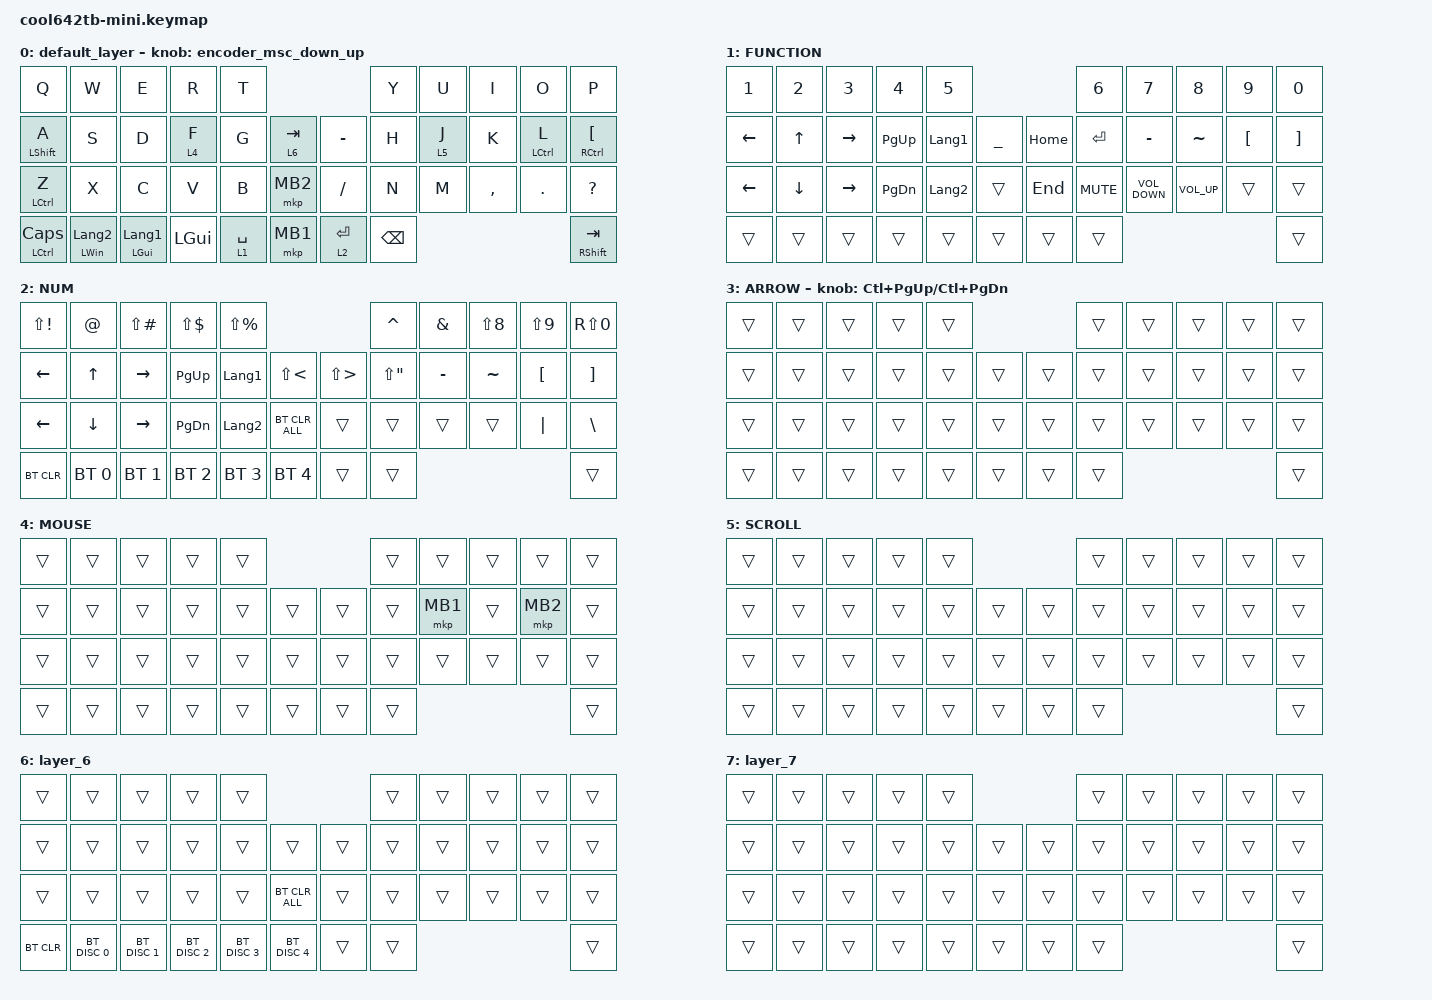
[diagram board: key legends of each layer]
#include <behaviors.dtsi>
#include <dt-bindings/zmk/bt.h>
#include <dt-bindings/zmk/keys.h>
#include <dt-bindings/zmk/pointing.h>

#define MOUSE 4
#define SCROLL 5
#define NUM 6
#define ZMK_POINTING_DEFAULT_SCRL_VAL 80

&mt {
    flavor = "balanced";
    quick-tap-ms = <0>;
};

/ {
    combos {
        compatible = "zmk,combos";

        shift_tab {
            bindings = <&kp LANG2>;
            key-positions = <12 13>;
        };

        lang {
            bindings = <&kp LANG1>;
            key-positions = <18 19>;
        };
    };

    behaviors {
        encoder_msc_down_up: encoder_msc_down_up {
            compatible = "zmk,behavior-sensor-rotate";
            label = "ENCODER_MSC_DOWN_UP";
            #sensor-binding-cells = <0>;
            bindings = <&msc SCRL_UP>, <&msc SCRL_DOWN>;

            tap-ms = <20>;
        };
    };

    keymap {
        compatible = "zmk,keymap";

        default_layer {
            bindings = <
&kp Q                      &kp W                    &kp E                    &kp R         &kp T                                    &kp Y          &kp U    &kp I      &kp O               &kp P
&mt LEFT_SHIFT A           &kp S                    &kp D                    &lt 4 F       &kp G        &lt 6 TAB      &kp MINUS    &kp H          &lt 5 J  &kp K      &mt LEFT_CONTROL L  &mt RIGHT_CONTROL LBKT
&mt LEFT_CONTROL Z         &kp X                    &kp C                    &kp V         &kp B        &mkp MB2       &kp SLASH    &kp N          &kp M    &kp COMMA  &kp PERIOD          &kp QUESTION
&mt LEFT_CONTROL CAPSLOCK  &mt LEFT_WIN LANGUAGE_2  &mt LEFT_GUI LANGUAGE_1  &kp LEFT_GUI  &lt 1 SPACE  &mkp MB1       &lt 2 ENTER  &kp BACKSPACE                                          &mt RIGHT_SHIFT TAB
            >;

            sensor-bindings = <&encoder_msc_down_up>;
        };

        FUNCTION {
            bindings = <
&kp N1          &kp N2        &kp N3           &kp N4         &kp N5                                   &kp N6      &kp N7             &kp N8           &kp N9            &kp N0
&kp LEFT_ARROW  &kp UP_ARROW  &kp RIGHT_ARROW  &kp PAGE_UP    &kp LANGUAGE_1  &kp UNDER      &kp HOME  &kp ENTER   &kp MINUS          &kp TILDE        &kp LEFT_BRACKET  &kp RIGHT_BRACKET
&kp LEFT_ARROW  &kp DOWN      &kp RIGHT_ARROW  &kp PAGE_DOWN  &kp LANGUAGE_2  &trans         &kp END   &kp K_MUTE  &kp C_VOLUME_DOWN  &kp C_VOLUME_UP  &trans            &trans
&trans          &trans        &trans           &trans         &trans          &trans         &trans    &trans                                                            &trans
            >;
        };

        NUM {
            bindings = <
&kp LS(EXCL)  &kp AT          &kp LS(POUND)  &kp LS(DLLR)   &kp LS(PRCNT)                                   &kp CARET    &kp AMPERSAND  &kp LS(N8)  &kp LS(N9)        &kp RS(N0)
&kp LEFT      &kp UP_ARROW    &kp RIGHT      &kp PAGE_UP    &kp LANGUAGE_1  &kp LS(LT)          &kp LS(GT)  &kp LS(DQT)  &kp MINUS      &kp TILDE   &kp LEFT_BRACKET  &kp RIGHT_BRACKET
&kp LEFT      &kp DOWN_ARROW  &kp RIGHT      &kp PAGE_DOWN  &kp LANGUAGE_2  &bt BT_CLR_ALL      &trans      &trans       &trans         &trans      &kp PIPE          &kp BACKSLASH
&bt BT_CLR    &bt BT_SEL 0    &bt BT_SEL 1   &bt BT_SEL 2   &bt BT_SEL 3    &bt BT_SEL 4        &trans      &trans                                                    &trans
            >;
        };

        ARROW {
            bindings = <
&trans  &trans  &trans  &trans  &trans                      &trans  &trans  &trans  &trans  &trans
&trans  &trans  &trans  &trans  &trans  &trans      &trans  &trans  &trans  &trans  &trans  &trans
&trans  &trans  &trans  &trans  &trans  &trans      &trans  &trans  &trans  &trans  &trans  &trans
&trans  &trans  &trans  &trans  &trans  &trans      &trans  &trans                          &trans
            >;

            sensor-bindings = <&inc_dec_kp LC(PAGE_UP) LC(PAGE_DOWN)>;
        };

        MOUSE {
            bindings = <
&trans  &trans  &trans  &trans  &trans                      &trans  &trans    &trans  &trans    &trans
&trans  &trans  &trans  &trans  &trans  &trans      &trans  &trans  &mkp MB1  &trans  &mkp MB2  &trans
&trans  &trans  &trans  &trans  &trans  &trans      &trans  &trans  &trans    &trans  &trans    &trans
&trans  &trans  &trans  &trans  &trans  &trans      &trans  &trans                              &trans
            >;
        };

        SCROLL {
            bindings = <
&trans  &trans  &trans  &trans  &trans                      &trans  &trans  &trans  &trans  &trans
&trans  &trans  &trans  &trans  &trans  &trans      &trans  &trans  &trans  &trans  &trans  &trans
&trans  &trans  &trans  &trans  &trans  &trans      &trans  &trans  &trans  &trans  &trans  &trans
&trans  &trans  &trans  &trans  &trans  &trans      &trans  &trans                          &trans
            >;
        };

        layer_6 {
            bindings = <
&trans      &trans         &trans         &trans         &trans                                     &trans  &trans  &trans  &trans  &trans
&trans      &trans         &trans         &trans         &trans         &trans              &trans  &trans  &trans  &trans  &trans  &trans
&trans      &trans         &trans         &trans         &trans         &bt BT_CLR_ALL      &trans  &trans  &trans  &trans  &trans  &trans
&bt BT_CLR  &bt BT_DISC 0  &bt BT_DISC 1  &bt BT_DISC 2  &bt BT_DISC 3  &bt BT_DISC 4       &trans  &trans                          &trans
            >;
        };

        layer_7 {
            bindings = <
&trans  &trans  &trans  &trans  &trans                      &trans  &trans  &trans  &trans  &trans
&trans  &trans  &trans  &trans  &trans  &trans      &trans  &trans  &trans  &trans  &trans  &trans
&trans  &trans  &trans  &trans  &trans  &trans      &trans  &trans  &trans  &trans  &trans  &trans
&trans  &trans  &trans  &trans  &trans  &trans      &trans  &trans                          &trans
            >;
        };
    };
};
